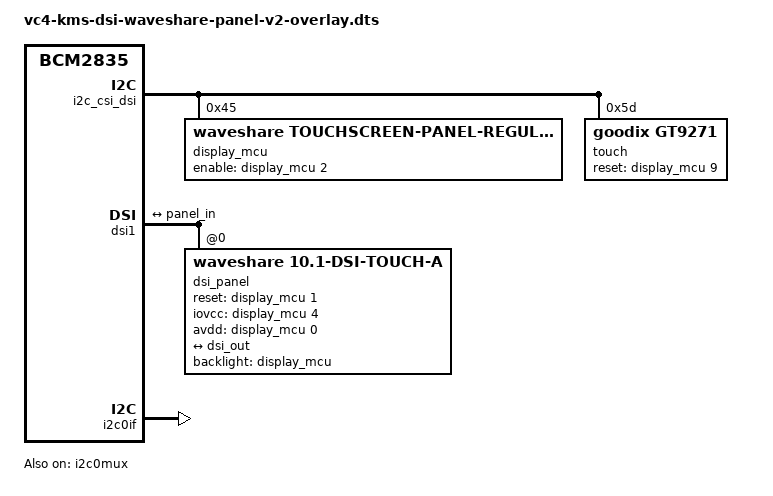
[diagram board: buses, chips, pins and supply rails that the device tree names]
/*
 * vc4-kms-dsi-waveshare-panel-v2-overlay.dts
 */

/dts-v1/;
/plugin/;

#include <dt-bindings/gpio/gpio.h>

/ {
	compatible = "brcm,bcm2835";

	i2c_frag: fragment@0 {
		target = <&i2c_csi_dsi>;
		__overlay__ {
			#address-cells = <1>;
			#size-cells = <0>;
			status = "okay";

			display_mcu: display_mcu@45 {
				compatible = "waveshare,touchscreen-panel-regulator";
				reg = <0x45>;
				gpio-controller;
				#gpio-cells = <2>;
				enable-gpio = <&display_mcu 2 GPIO_ACTIVE_HIGH>;
			};

			touch: goodix@5d {
				compatible = "goodix,gt9271";
				reg = <0x5d>;
				reset-gpio = <&display_mcu 9 GPIO_ACTIVE_HIGH>;
			};
		};
	};

	dsi_frag: fragment@1 {
		target = <&dsi1>;
		__overlay__  {
			#address-cells = <1>;
			#size-cells = <0>;
			status = "okay";

			port {
				dsi_out: endpoint {
					remote-endpoint = <&panel_in>;
				};
			};

			dsi_panel: dsi_panel@0 {
				reg = <0>;
				compatible = "waveshare,10.1-dsi-touch-a";
				reset-gpio = <&display_mcu 1 GPIO_ACTIVE_HIGH>;
				iovcc-gpio = <&display_mcu 4 GPIO_ACTIVE_HIGH>;
				avdd-gpio = <&display_mcu 0 GPIO_ACTIVE_HIGH>;
				backlight = <&display_mcu>;

				port {
					panel_in: endpoint {
						remote-endpoint = <&dsi_out>;
					};
				};
			};
		};
	};

	fragment@2 {
		target = <&i2c0if>;
		__overlay__ {
			status = "okay";
		};
	};

	fragment@3 {
		target = <&i2c0mux>;
		__overlay__ {
			status = "okay";
		};
	};

	__overrides__ {
		3_4_inch_c = <&dsi_panel>, "compatible=waveshare,3.4-dsi-touch-c";
		4_0_inch_c = <&dsi_panel>, "compatible=waveshare,4.0-dsi-touch-c";
		5_0_inch_a = <&dsi_panel>, "compatible=waveshare,5.0-dsi-touch-a";
		5_5_inch_a = <&dsi_panel>, "compatible=waveshare,5.5-dsi-touch-a";
		7_0_inch_a = <&dsi_panel>, "compatible=waveshare,7.0-dsi-touch-a";
		7_0_inch_b = <&dsi_panel>, "compatible=waveshare,7.0-dsi-touch-b";
		8_0_inch_a = <&dsi_panel>, "compatible=waveshare,8.0-dsi-touch-a";
		8_0_inch_a_4lane = <&dsi_panel>, "compatible=waveshare,8.0-dsi-touch-a-4lane";
		8_8_inch_a = <&dsi_panel>, "compatible=waveshare,8.8-dsi-touch-a";
		9_0_inch_b = <&dsi_panel>, "compatible=waveshare,9.0-dsi-touch-b",
			     <&touch>, "touchscreen-inverted-x";
		9_0_inch_b_4lane = <&dsi_panel>, "compatible=waveshare,9.0-dsi-touch-b,4lane",
				   <&touch>, "touchscreen-inverted-x";
		10_1_inch_a = <&dsi_panel>, "compatible=waveshare,10.1-dsi-touch-a";
		10_1_inch_a_4lane = <&dsi_panel>, "compatible=waveshare,10.1-dsi-touch-a-4lane";
		10_1_inch_b = <&dsi_panel>, "compatible=waveshare,10.1-dsi-touch-b",
			      <&touch>, "touchscreen-inverted-y";
		10_1_inch_b_4lane = <&dsi_panel>, "compatible=waveshare,10.1-dsi-touch-b,4lane",
				    <&touch>, "touchscreen-inverted-y";
		12_3_inch_a_4lane = <&dsi_panel>, "compatible=waveshare,12.3-dsi-touch-a,4lane",
				    <&touch>, "touchscreen-swapped-x-y",
				    <&touch>, "touchscreen-inverted-y";
		disable_touch = <&touch>, "status=disabled";
		invx = <&touch>,"touchscreen-inverted-x?";
		invy = <&touch>,"touchscreen-inverted-y?";
		swapxy = <&touch>,"touchscreen-swapped-x-y?";
		dsi0 = <&dsi_frag>, "target:0=",<&dsi0>,
			   <&i2c_frag>, "target:0=",<&i2c_csi_dsi0>;
	};
};
